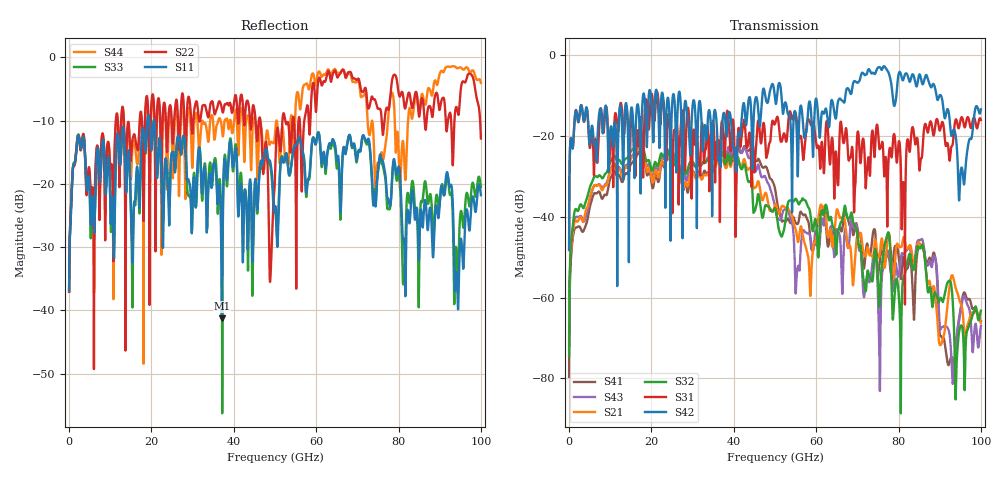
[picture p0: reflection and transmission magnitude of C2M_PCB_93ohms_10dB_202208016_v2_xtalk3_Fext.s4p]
! Info: Touchstone file created by Circ.  Input file=Intel_C2M_200G_1p5in_202208016_staggered.circ
# Hz S RI R 50
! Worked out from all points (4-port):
!   10000 points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, 10 MHz to 100 GHz, reference 50 ohm
!   strongest paths, dB at 10 MHz, 25.01 GHz, 50.01 GHz, 75.01 GHz, 100 GHz:
!     S42: -48.1, -12.4, -10.7, -3.0, -13.4
!     S31: -48.2, -29.8, -16.9, -18.6, -16.0
!     S32: -74.5, -23.7, -37.9, -55.8, -63.2
!     S21: -70.1, -25.9, -37.0, -50.0, -66.3
!     S43: -71.8, -23.7, -37.5, -59.7, -67.1
!     S41: -79.6, -25.6, -33.0, -54.9, -65.8
!   lowest |S11| = -41.3 dB at 37.1 GHz (marker M1), VSWR 1.02, Z = 50.8 - j0.323 ohm
!   |S11| at or under -10 dB: start of sweep to 19.03 GHz; 19.49 GHz to 20.53 GHz (1.039 GHz wide, 5.19 % of centre); 20.68 GHz to end of sweep
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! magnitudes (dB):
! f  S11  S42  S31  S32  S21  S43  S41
! 10 MHz  -36.9  -48.1  -48.2  -74.5  -70.1  -71.8  -79.6
! 1.27 GHz  -16.8  -17.1  -17.2  -39.0  -41.5  -41.2  -43.1
! 10.65 GHz  -24.6  -22.3  -28.4  -25.2  -27.3  -27.2  -29.0
! 37.1 GHz  -41.3  -18.8  -16.3  -23.9  -26.1  -22.6  -24.9
! 48.98 GHz  -17.0  -8.1  -20.1  -38.3  -38.4  -33.4  -30.6
! 62.86 GHz  -14.5  -16.4  -18.6  -39.6  -44.9  -45.0  -47.3
! 100 GHz  -21.8  -13.4  -16.0  -63.2  -66.3  -67.1  -65.8
